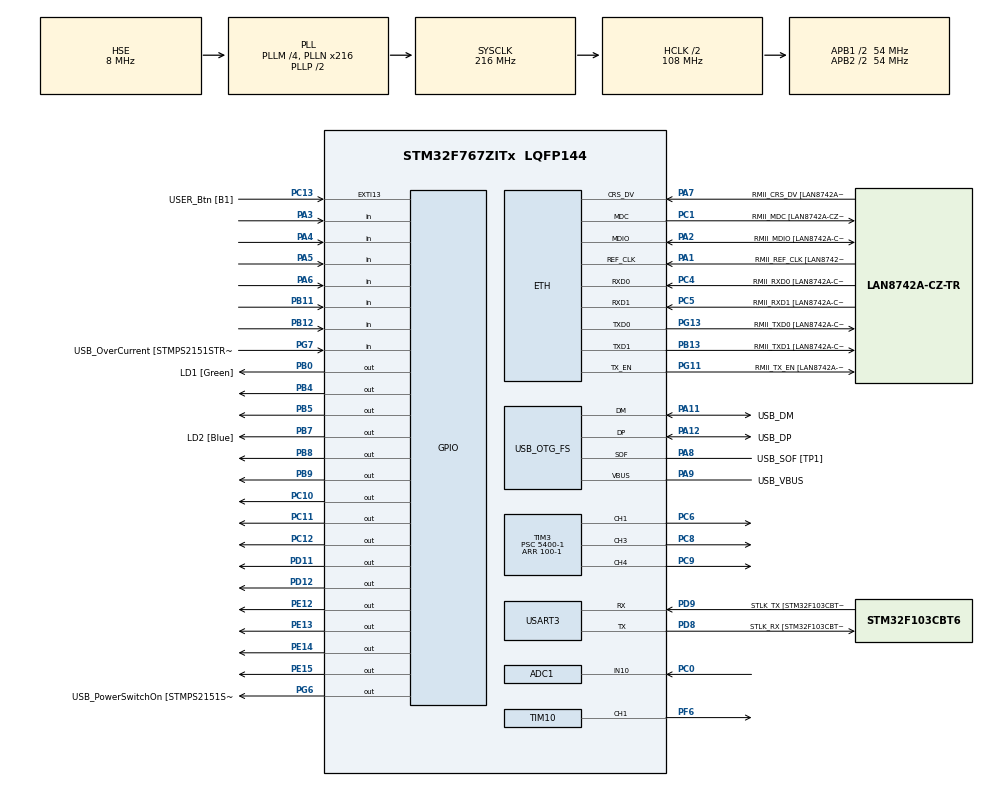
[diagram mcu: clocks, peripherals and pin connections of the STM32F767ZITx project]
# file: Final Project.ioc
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ADC1.Channel-5\#ChannelRegularConversion=ADC_CHANNEL_10
ADC1.NbrOfConversionFlag=1
ADC1.Rank-5\#ChannelRegularConversion=1
ADC1.SamplingTime-5\#ChannelRegularConversion=ADC_SAMPLETIME_3CYCLES
ADC1.master=1
ETH.MediaInterface=HAL_ETH_RMII_MODE
ETH.PHY_Name=LAN8742A_PHY_ADDRESS
ETH.PHY_Value=0
ETH.PhyAddress=0
Mcu.Family=STM32F7
Mcu.Name=STM32F767ZITx
Mcu.Package=LQFP144
NVIC.PriorityGroup=NVIC_PRIORITYGROUP_4
PA1.GPIO_Label=RMII_REF_CLK [LAN8742A-CZ-TR_REFCLK0]
PA1.Mode=RMII
PA1.Signal=ETH_REF_CLK
PA10.GPIO_Label=USB_ID
PA10.Signal=USB_OTG_FS_ID
PA11.GPIO_Label=USB_DM
PA11.Mode=Device_Only
PA11.Signal=USB_OTG_FS_DM
PA12.GPIO_Label=USB_DP
PA12.Mode=Device_Only
PA12.Signal=USB_OTG_FS_DP
PA13.GPIO_Label=TMS
PA13.Mode=Serial_Wire
PA13.Signal=SYS_JTMS-SWDIO
PA14.GPIO_Label=TCK
PA14.Mode=Serial_Wire
PA14.Signal=SYS_JTCK-SWCLK
PA2.GPIO_Label=RMII_MDIO [LAN8742A-CZ-TR_MDIO]
PA2.Mode=RMII
PA2.Signal=ETH_MDIO
PA3.Signal=GPIO_Input
PA4.Signal=GPIO_Input
PA5.Signal=GPIO_Input
PA6.Signal=GPIO_Input
PA7.GPIO_Label=RMII_CRS_DV [LAN8742A-CZ-TR_CRS_DV]
PA7.Mode=RMII
PA7.Signal=ETH_CRS_DV
PA8.GPIO_Label=USB_SOF [TP1]
PA8.Mode=Activate_SOF_FS
PA8.Signal=USB_OTG_FS_SOF
PA9.GPIO_Label=USB_VBUS
PA9.Mode=Activate_VBUS
PA9.Signal=USB_OTG_FS_VBUS
PB0.GPIO_Label=LD1 [Green]
PB0.Signal=GPIO_Output
PB11.Signal=GPIO_Input
PB12.Signal=GPIO_Input
PB13.GPIO_Label=RMII_TXD1 [LAN8742A-CZ-TR_TXD1]
PB13.Mode=RMII
PB13.Signal=ETH_TXD1
PB3.GPIO_Label=SWO
PB3.Signal=SYS_JTDO-SWO
PB4.Signal=GPIO_Output
PB5.Signal=GPIO_Output
PB7.GPIO_Label=LD2 [Blue]
PB7.Signal=GPIO_Output
PB8.Signal=GPIO_Output
PB9.Signal=GPIO_Output
PC0.Signal=ADCx_IN10
PC1.GPIO_Label=RMII_MDC [LAN8742A-CZ-TR_MDC]
PC1.Mode=RMII
PC1.Signal=ETH_MDC
PC10.Signal=GPIO_Output
PC11.Signal=GPIO_Output
PC12.Signal=GPIO_Output
PC13.GPIO_Label=USER_Btn [B1]
PC13.Signal=GPXTI13
PC14/OSC32_IN.Mode=LSE-External-Oscillator
PC14/OSC32_IN.Signal=RCC_OSC32_IN
PC15/OSC32_OUT.Mode=LSE-External-Oscillator
PC15/OSC32_OUT.Signal=RCC_OSC32_OUT
PC4.GPIO_Label=RMII_RXD0 [LAN8742A-CZ-TR_RXD0]
PC4.Mode=RMII
PC4.Signal=ETH_RXD0
PC5.GPIO_Label=RMII_RXD1 [LAN8742A-CZ-TR_RXD1]
PC5.Mode=RMII
PC5.Signal=ETH_RXD1
PC6.Signal=S_TIM3_CH1
PC8.Signal=S_TIM3_CH3
PC9.Signal=S_TIM3_CH4
PD11.Signal=GPIO_Output
PD12.Signal=GPIO_Output
PD8.GPIO_Label=STLK_RX [STM32F103CBT6_PA3]
PD8.Mode=Asynchronous
PD8.Signal=USART3_TX
PD9.GPIO_Label=STLK_TX [STM32F103CBT6_PA2]
PD9.Mode=Asynchronous
PD9.Signal=USART3_RX
PE12.Signal=GPIO_Output
PE13.Signal=GPIO_Output
PE14.Signal=GPIO_Output
PE15.Signal=GPIO_Output
PF6.Signal=S_TIM10_CH1
PG11.GPIO_Label=RMII_TX_EN [LAN8742A-CZ-TR_TXEN]
PG11.Mode=RMII
PG11.Signal=ETH_TX_EN
PG13.GPIO_Label=RMII_TXD0 [LAN8742A-CZ-TR_TXD0]
PG13.Mode=RMII
PG13.Signal=ETH_TXD0
PG6.GPIO_Label=USB_PowerSwitchOn [STMPS2151STR_EN]
PG6.Signal=GPIO_Output
PG7.GPIO_Label=USB_OverCurrent [STMPS2151STR_FAULT]
PG7.Signal=GPIO_Input
PH0/OSC_IN.GPIO_Label=MCO [STM32F103CBT6_PA8]
PH0/OSC_IN.Mode=HSE-External-Clock-Source
PH0/OSC_IN.Signal=RCC_OSC_IN
PH1/OSC_OUT.Mode=HSE-External-Clock-Source
PH1/OSC_OUT.Signal=RCC_OSC_OUT
ProjectManager.HeapSize=0x200
ProjectManager.StackSize=0x400
ProjectManager.TargetToolchain=STM32CubeIDE
RCC.48MHZClocksFreq_Value=24000000
RCC.AHBCLKDivider=RCC_SYSCLK_DIV2
RCC.AHBFreq_Value=108000000
RCC.APB1CLKDivider=RCC_HCLK_DIV2
RCC.APB1Freq_Value=54000000
RCC.APB1TimFreq_Value=108000000
RCC.APB2CLKDivider=RCC_HCLK_DIV2
RCC.APB2Freq_Value=54000000
RCC.APB2TimFreq_Value=108000000
RCC.CortexFreq_Value=108000000
RCC.HCLKFreq_Value=108000000
RCC.HSE_VALUE=8000000
RCC.HSI_VALUE=16000000
RCC.PLLM=4
RCC.PLLMUL=RCC_PLL_MUL9
RCC.PLLN=216
RCC.PLLQ=9
RCC.PRESCALERUSB=RCC_USBCLKSOURCE_PLL_DIV1_5
RCC.SYSCLKFreq_VALUE=216000000
RCC.SYSCLKSource=RCC_SYSCLKSOURCE_PLLCLK
RCC.SYSCLKSourceVirtual=RCC_SYSCLKSOURCE_PLLCLK
RCC.USBFreq_Value=48000000
RCC.VCOOutputFreq_Value=432000000
SH.ADCx_IN10.0=ADC1_IN10,IN10
SH.S_TIM10_CH1.0=TIM10_CH1,PWM Generation1 CH1
SH.S_TIM3_CH1.0=TIM3_CH1,PWM Generation1 CH1
SH.S_TIM3_CH3.0=TIM3_CH3,PWM Generation3 CH3
SH.S_TIM3_CH4.0=TIM3_CH4,PWM Generation4 CH4
TIM10.Channel=TIM_CHANNEL_1
TIM10.Period=1000-1
TIM10.Prescaler=0
TIM10.Pulse=500-1
TIM3.Channel-PWM\ Generation1\ CH1=TIM_CHANNEL_1
TIM3.Channel-PWM\ Generation3\ CH3=TIM_CHANNEL_3
TIM3.Channel-PWM\ Generation4\ CH4=TIM_CHANNEL_4
TIM3.Period=100-1
TIM3.Prescaler=5400-1
USART3.VirtualMode-Asynchronous=VM_ASYNC
USB_OTG_FS.VirtualMode=Device_Only
VP_TIM10_VS_ClockSourceINT.Mode=Enable_Timer
VP_TIM3_VS_ClockSourceINT.Mode=Internal
board=NUCLEO-F767ZI

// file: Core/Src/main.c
/* USER CODE BEGIN Header */
/**
  ******************************************************************************
  * @file           : main.c
  * @brief          : Main program body
  ******************************************************************************
  * @attention
  *
  * Copyright (c) 2024 STMicroelectronics.
  * All rights reserved.
  *
  * This software is licensed under terms that can be found in the LICENSE file
  * in the root directory of this software component.
  * If no LICENSE file comes with this software, it is provided AS-IS.
  *
  ******************************************************************************
  */
/* USER CODE END Header */
#include "main.h"
#include "string.h"

/* USER CODE BEGIN PD */
#define motorAlarmPin GPIO_PIN_3 //A
#define motorStopTouchPin GPIO_PIN_5 //A
#define ledPin GPIO_PIN_4 //B
#define motorPinCCW GPIO_PIN_12 //B
#define motorPinCW GPIO_PIN_11 //B
#define motorStopPin GPIO_PIN_10 //C
#define motorOutPin GPIO_PIN_11 //C

uint8_t line;
uint8_t cycleDelay = 2;
uint32_t adcValue = 1;
uint32_t channels[] = {TIM_CHANNEL_1, TIM_CHANNEL_3, TIM_CHANNEL_4};

const uint16_t LCD_PINS[4] = { GPIO_PIN_12, GPIO_PIN_13, GPIO_PIN_14, GPIO_PIN_15};

#define LCD_PORT GPIOE

const uint8_t HEX_TO_CHAR[16] = {
	0b0000,  //0
	0b0001,  //1
	0b0010,  //2
	0b0011,  //3
	0b0100,  //4
	0b0101,  //5
	0b0110,  //6
	0b0111,  //7
	0b1000,  //8
	0b1001,  //9
	0b1010,  //A
	0b1011,  //B
	0b1100,  //C
	0b1101,  //D
	0b1110,  //E
	0b1111   //F

};

const uint8_t START_SEQ[9] = {
	0b0010,
	0b0010,
	0b1100,
	0b0000,
	0b0001,
	0b0000,
	0b0010,
	0b0000,
	0b1100
	//0b1100,
	//0b0000
};

const uint8_t BOTTOM_ROW[4] = {
	0b0000,
	0b0000,
	0b1100,
	0b0000
};

/* USER CODE END PD */

#if defined ( __ICCARM__ ) /*!< IAR Compiler */
#pragma location=0x2007c000
ETH_DMADescTypeDef  DMARxDscrTab[ETH_RX_DESC_CNT]; /* Ethernet Rx DMA Descriptors */
#pragma location=0x2007c0a0
ETH_DMADescTypeDef  DMATxDscrTab[ETH_TX_DESC_CNT]; /* Ethernet Tx DMA Descriptors */

#elif defined ( __CC_ARM )  /* MDK ARM Compiler */

__attribute__((at(0x2007c000))) ETH_DMADescTypeDef  DMARxDscrTab[ETH_RX_DESC_CNT]; /* Ethernet Rx DMA Descriptors */
__attribute__((at(0x2007c0a0))) ETH_DMADescTypeDef  DMATxDscrTab[ETH_TX_DESC_CNT]; /* Ethernet Tx DMA Descriptors */

#elif defined ( __GNUC__ ) /* GNU Compiler */

ETH_DMADescTypeDef DMARxDscrTab[ETH_RX_DESC_CNT] __attribute__((section(".RxDecripSection"))); /* Ethernet Rx DMA Descriptors */
ETH_DMADescTypeDef DMATxDscrTab[ETH_TX_DESC_CNT] __attribute__((section(".TxDecripSection")));   /* Ethernet Tx DMA Descriptors */
#endif

ETH_TxPacketConfig TxConfig;

ADC_HandleTypeDef hadc1;

ETH_HandleTypeDef heth;

TIM_HandleTypeDef htim3;
TIM_HandleTypeDef htim10;

UART_HandleTypeDef huart3;

PCD_HandleTypeDef hpcd_USB_OTG_FS;

void SystemClock_Config(void);
static void MX_GPIO_Init(void);
static void MX_ETH_Init(void);
static void MX_USART3_UART_Init(void);
static void MX_USB_OTG_FS_PCD_Init(void);
static void MX_ADC1_Init(void);
static void MX_TIM3_Init(void);
static void MX_TIM10_Init(void);

/* USER CODE BEGIN 0 */

void playBuzzerTone(uint16_t duration) {
	HAL_ADC_Start(&hadc1);
	if (HAL_ADC_PollForConversion(&hadc1, HAL_MAX_DELAY) == HAL_OK){
	  adcValue = HAL_ADC_GetValue(&hadc1);
	  if (adcValue == 0) adcValue = 1;
	}
	HAL_ADC_Stop(&hadc1);

	__HAL_TIM_SET_PRESCALER(&htim10, (108000000/(1000*(adcValue/20)))-1);

	HAL_TIM_PWM_Start(&htim10, TIM_CHANNEL_1);

	HAL_Delay(duration);

	HAL_TIM_PWM_Stop(&htim10, TIM_CHANNEL_1);
}

void LED_RGB_Cycle(TIM_HandleTypeDef *htim) {

	playBuzzerTone(500);

	for (int i = 0; i < 3; i++) {
	  HAL_TIM_PWM_Start(&htim3, channels[i]);
    }
	playBuzzerTone(100);

	const int RED = 0, GREEN = 1, BLUE = 2;

	// Full RGB effect
	for (int dutyCycle = 0; dutyCycle <= 100; dutyCycle++) {
		// Red to Yellow (Red + Green)
		__HAL_TIM_SET_COMPARE(htim, channels[RED], dutyCycle);
		__HAL_TIM_SET_COMPARE(htim, channels[GREEN], dutyCycle);
		__HAL_TIM_SET_COMPARE(htim, channels[BLUE], 0);
		HAL_Delay(cycleDelay);
	}
	playBuzzerTone(100);

	for (int dutyCycle = 100; dutyCycle >= 0; dutyCycle--) {
		// Yellow to Green
		__HAL_TIM_SET_COMPARE(htim, channels[RED], dutyCycle);
		__HAL_TIM_SET_COMPARE(htim, channels[GREEN], 100);
		__HAL_TIM_SET_COMPARE(htim, channels[BLUE], 0);
		HAL_Delay(cycleDelay);
	}
	playBuzzerTone(100);

	for (int dutyCycle = 0; dutyCycle <= 100; dutyCycle++) {
		// Green to Cyan (Green + Blue)
		__HAL_TIM_SET_COMPARE(htim, channels[RED], 0);
		__HAL_TIM_SET_COMPARE(htim, channels[GREEN], 100);
		__HAL_TIM_SET_COMPARE(htim, channels[BLUE], dutyCycle);
		HAL_Delay(cycleDelay);
	}
	playBuzzerTone(100);

	for (int dutyCycle = 100; dutyCycle >= 0; dutyCycle--) {
		// Cyan to Blue
		__HAL_TIM_SET_COMPARE(htim, channels[RED], 0);
		__HAL_TIM_SET_COMPARE(htim, channels[GREEN], dutyCycle);
		__HAL_TIM_SET_COMPARE(htim, channels[BLUE], 100);
		HAL_Delay(cycleDelay);
	}
	playBuzzerTone(100);

	for (int dutyCycle = 0; dutyCycle <= 100; dutyCycle++) {
		// Blue to Magenta (Blue + Red)
		__HAL_TIM_SET_COMPARE(htim, channels[RED], dutyCycle);
		__HAL_TIM_SET_COMPARE(htim, channels[GREEN], 0);
		__HAL_TIM_SET_COMPARE(htim, channels[BLUE], 100);
		HAL_Delay(cycleDelay);
	}
	playBuzzerTone(100);

	for (int dutyCycle = 100; dutyCycle >= 0; dutyCycle--) {
		// Magenta to Red
		__HAL_TIM_SET_COMPARE(htim, channels[RED], 100);
		__HAL_TIM_SET_COMPARE(htim, channels[GREEN], 0);
		__HAL_TIM_SET_COMPARE(htim, channels[BLUE], dutyCycle);
		HAL_Delay(cycleDelay);
	}
	playBuzzerTone(100);

	for (int i = 0; i < 3; i++) {
	  HAL_TIM_PWM_Stop(&htim3, channels[i]);
    }

	playBuzzerTone(500);
}

void start_up(){

	HAL_Delay(10);

	for(int j = 0; j < 9; j++){

		for (int i = 0; i < 4; i++) {
			HAL_GPIO_WritePin(LCD_PORT, LCD_PINS[i], (START_SEQ[j] >> i) & 0x01);
		}

		HAL_Delay(5);

		HAL_GPIO_WritePin(GPIOD, GPIO_PIN_11, GPIO_PIN_SET);

		HAL_Delay(5);

		HAL_GPIO_WritePin(GPIOD, GPIO_PIN_11, GPIO_PIN_RESET);

		HAL_Delay(5);

	}

	line = 0;
}

void text_to_disp(char* str) {
    while (*str != '\0') {

        uint8_t highNibble = (*str >> 4) & 0x0F;
        uint8_t lowNibble = *str & 0x0F;

        get_digit_and_write_to_disp(highNibble, lowNibble);

        str++;
    }
}

void bottom_row(){

	for(int j = 0; j < 2; j++){

		if (line == 0){
			for (int i = 0; i < 4; i++) {
				HAL_GPIO_WritePin(LCD_PORT, LCD_PINS[i], (BOTTOM_ROW[j] >> i) & 0x01);
			}

			line = 1;
		}

		if (line == 1){
			for (int i = 0; i < 4; i++) {
				HAL_GPIO_WritePin(LCD_PORT, LCD_PINS[i], (BOTTOM_ROW[j+2] >> i) & 0x01);
			}

			line = 0;
		}

		HAL_Delay(5);

		HAL_GPIO_WritePin(GPIOD, GPIO_PIN_11, GPIO_PIN_SET);

		HAL_Delay(5);

		HAL_GPIO_WritePin(GPIOD, GPIO_PIN_11, GPIO_PIN_RESET);

		HAL_Delay(5);
	}
}

void get_digit_and_write_to_disp(uint8_t a, uint8_t b){

	HAL_GPIO_WritePin(GPIOD, GPIO_PIN_12, GPIO_PIN_SET);

	for (int i = 0; i < 4; i++) {
		HAL_GPIO_WritePin(LCD_PORT, LCD_PINS[i], (HEX_TO_CHAR[a] >> i) & 0x01);
	}

	HAL_Delay(5);

	HAL_GPIO_WritePin(GPIOD, GPIO_PIN_11, GPIO_PIN_SET);

	HAL_Delay(5);

	HAL_GPIO_WritePin(GPIOD, GPIO_PIN_11, GPIO_PIN_RESET);

	HAL_Delay(5);

	for (int i = 0; i < 4; i++) {
		HAL_GPIO_WritePin(LCD_PORT, LCD_PINS[i], (HEX_TO_CHAR[b] >> i) & 0x01);
	}

	HAL_Delay(5);

	HAL_GPIO_WritePin(GPIOD, GPIO_PIN_11, GPIO_PIN_SET);

	HAL_Delay(5);

	HAL_GPIO_WritePin(GPIOD, GPIO_PIN_11, GPIO_PIN_RESET);

	HAL_Delay(5);

	HAL_GPIO_WritePin(GPIOD, GPIO_PIN_12, GPIO_PIN_RESET);

}

void motorStopped(){

    HAL_GPIO_WritePin(GPIOC, motorStopPin, GPIO_PIN_RESET);
    HAL_GPIO_WritePin(GPIOC, motorOutPin, GPIO_PIN_SET);
    HAL_GPIO_WritePin(GPIOB, ledPin, GPIO_PIN_SET);

    HAL_Delay(100);

    start_up();
    start_up();
    text_to_disp(" Motor Stopped! ");
    HAL_Delay(500);
}

void motorRunningCCW(){

    HAL_GPIO_WritePin(GPIOB, ledPin, GPIO_PIN_RESET);
    HAL_GPIO_WritePin(GPIOC, motorStopPin, GPIO_PIN_SET);
    HAL_GPIO_WritePin(GPIOC, motorOutPin, GPIO_PIN_RESET);

    HAL_Delay(100);

    start_up();
    start_up();
    text_to_disp("Motor is running");
    bottom_row();
    text_to_disp("CounterClockWise");
    HAL_Delay(500);
}

void motorRunningCW(){

    HAL_GPIO_WritePin(GPIOB, ledPin, GPIO_PIN_RESET);
    HAL_GPIO_WritePin(GPIOC, motorStopPin, GPIO_PIN_SET);
    HAL_GPIO_WritePin(GPIOC, motorOutPin, GPIO_PIN_SET);

    HAL_Delay(100);

    start_up();
    start_up();
    text_to_disp("Motor is running");
    bottom_row();
    text_to_disp("   Clock-Wise   ");
    HAL_Delay(500);
}

/* USER CODE END 0 */

int main(void)
{

  /* MCU Configuration--------------------------------------------------------*/

  /* Reset of all peripherals, Initializes the Flash interface and the Systick. */
  HAL_Init();

  /* USER CODE BEGIN Init */
  GPIO_InitTypeDef GPIO_InitStruct = {0};
  GPIO_InitStruct.Pin   = LCD_PINS[0] | LCD_PINS[1] | LCD_PINS[2] | LCD_PINS[3];
  GPIO_InitStruct.Mode  = GPIO_MODE_OUTPUT_PP;
  GPIO_InitStruct.Pull  = GPIO_NOPULL;
  GPIO_InitStruct.Speed = GPIO_SPEED_FREQ_LOW;
  HAL_GPIO_Init(LCD_PORT, &GPIO_InitStruct);

  /* USER CODE END Init */

  /* Configure the system clock */
  SystemClock_Config();

  /* Initialize all configured peripherals */
  MX_GPIO_Init();
  MX_ETH_Init();
  MX_USART3_UART_Init();
  MX_USB_OTG_FS_PCD_Init();
  MX_ADC1_Init();
  MX_TIM3_Init();
  MX_TIM10_Init();
  /* USER CODE BEGIN 2 */

  line = 0;

  HAL_Delay(100);
  start_up();
  text_to_disp("System Ready");
  HAL_Delay(1000);
  motorStopped();
  //write_name();
  //bottom_row();

  /* USER CODE END 2 */

  /* Infinite loop */
  /* USER CODE BEGIN WHILE */
  while (1)
  {

	  if (HAL_GPIO_ReadPin(GPIOA, motorAlarmPin) == GPIO_PIN_SET && HAL_GPIO_ReadPin(GPIOC, motorStopPin) == GPIO_PIN_SET){
		LED_RGB_Cycle(&htim3);
		HAL_Delay(500);
	  }

	  if (HAL_GPIO_ReadPin(GPIOA, motorStopTouchPin) == GPIO_PIN_SET){
		motorStopped();
		HAL_Delay(500);
	  }

	  if (HAL_GPIO_ReadPin(GPIOB, motorPinCW) == GPIO_PIN_SET){
		motorRunningCW();
		HAL_Delay(500);
	  }

	  if (HAL_GPIO_ReadPin(GPIOB, motorPinCCW) == GPIO_PIN_SET){
		motorRunningCCW();
		HAL_Delay(500);
	  }
	  /*else{
		  char message[] = "Hello, STM32!";
		  text_to_disp(message);
	  }*/

    /* USER CODE END WHILE */

  }
}

void SystemClock_Config(void)
{
  RCC_OscInitTypeDef RCC_OscInitStruct = {0};
  RCC_ClkInitTypeDef RCC_ClkInitStruct = {0};

  /** Configure LSE Drive Capability
  */
  HAL_PWR_EnableBkUpAccess();

  /** Configure the main internal regulator output voltage
  */
  __HAL_RCC_PWR_CLK_ENABLE();
  __HAL_PWR_VOLTAGESCALING_CONFIG(PWR_REGULATOR_VOLTAGE_SCALE3);

  /** Initializes the RCC Oscillators according to the specified parameters
  * in the RCC_OscInitTypeDef structure.
  */
  RCC_OscInitStruct.OscillatorType = RCC_OSCILLATORTYPE_HSE;
  RCC_OscInitStruct.HSEState = RCC_HSE_BYPASS;
  RCC_OscInitStruct.PLL.PLLState = RCC_PLL_ON;
  RCC_OscInitStruct.PLL.PLLSource = RCC_PLLSOURCE_HSE;
  RCC_OscInitStruct.PLL.PLLM = 4;
  RCC_OscInitStruct.PLL.PLLN = 216;
  RCC_OscInitStruct.PLL.PLLP = RCC_PLLP_DIV2;
  RCC_OscInitStruct.PLL.PLLQ = 9;
  RCC_OscInitStruct.PLL.PLLR = 2;
  if (HAL_RCC_OscConfig(&RCC_OscInitStruct) != HAL_OK)
  {
    Error_Handler();
  }

  /** Activate the Over-Drive mode
  */
  if (HAL_PWREx_EnableOverDrive() != HAL_OK)
  {
    Error_Handler();
  }

  /** Initializes the CPU, AHB and APB buses clocks
  */
  RCC_ClkInitStruct.ClockType = RCC_CLOCKTYPE_HCLK|RCC_CLOCKTYPE_SYSCLK
                              |RCC_CLOCKTYPE_PCLK1|RCC_CLOCKTYPE_PCLK2;
  RCC_ClkInitStruct.SYSCLKSource = RCC_SYSCLKSOURCE_PLLCLK;
  RCC_ClkInitStruct.AHBCLKDivider = RCC_SYSCLK_DIV2;
  RCC_ClkInitStruct.APB1CLKDivider = RCC_HCLK_DIV2;
  RCC_ClkInitStruct.APB2CLKDivider = RCC_HCLK_DIV2;

  if (HAL_RCC_ClockConfig(&RCC_ClkInitStruct, FLASH_LATENCY_3) != HAL_OK)
  {
    Error_Handler();
  }
}

static void MX_ADC1_Init(void)
{

  ADC_ChannelConfTypeDef sConfig = {0};

  /** Configure the global features of the ADC (Clock, Resolution, Data Alignment and number of conversion)
  */
  hadc1.Instance = ADC1;
  hadc1.Init.ClockPrescaler = ADC_CLOCK_SYNC_PCLK_DIV2;
  hadc1.Init.Resolution = ADC_RESOLUTION_12B;
  hadc1.Init.ScanConvMode = ADC_SCAN_DISABLE;
  hadc1.Init.ContinuousConvMode = DISABLE;
  hadc1.Init.DiscontinuousConvMode = DISABLE;
  hadc1.Init.ExternalTrigConvEdge = ADC_EXTERNALTRIGCONVEDGE_NONE;
  hadc1.Init.ExternalTrigConv = ADC_SOFTWARE_START;
  hadc1.Init.DataAlign = ADC_DATAALIGN_RIGHT;
  hadc1.Init.NbrOfConversion = 1;
  hadc1.Init.DMAContinuousRequests = DISABLE;
  hadc1.Init.EOCSelection = ADC_EOC_SINGLE_CONV;
  if (HAL_ADC_Init(&hadc1) != HAL_OK)
  {
    Error_Handler();
  }

  /** Configure for the selected ADC regular channel its corresponding rank in the sequencer and its sample time.
  */
  sConfig.Channel = ADC_CHANNEL_10;
  sConfig.Rank = ADC_REGULAR_RANK_1;
  sConfig.SamplingTime = ADC_SAMPLETIME_3CYCLES;
  if (HAL_ADC_ConfigChannel(&hadc1, &sConfig) != HAL_OK)
  {
    Error_Handler();
  }

}

static void MX_ETH_Init(void)
{

   static uint8_t MACAddr[6];

  heth.Instance = ETH;
  MACAddr[0] = 0x00;
  MACAddr[1] = 0x80;
  MACAddr[2] = 0xE1;
  MACAddr[3] = 0x00;
  MACAddr[4] = 0x00;
  MACAddr[5] = 0x00;
  heth.Init.MACAddr = &MACAddr[0];
  heth.Init.MediaInterface = HAL_ETH_RMII_MODE;
  heth.Init.TxDesc = DMATxDscrTab;
  heth.Init.RxDesc = DMARxDscrTab;
  heth.Init.RxBuffLen = 1524;

  if (HAL_ETH_Init(&heth) != HAL_OK)
  {
    Error_Handler();
  }

  memset(&TxConfig, 0 , sizeof(ETH_TxPacketConfig));
  TxConfig.Attributes = ETH_TX_PACKETS_FEATURES_CSUM | ETH_TX_PACKETS_FEATURES_CRCPAD;
  TxConfig.ChecksumCtrl = ETH_CHECKSUM_IPHDR_PAYLOAD_INSERT_PHDR_CALC;
  TxConfig.CRCPadCtrl = ETH_CRC_PAD_INSERT;

}

static void MX_TIM3_Init(void)
{

  TIM_ClockConfigTypeDef sClockSourceConfig = {0};
  TIM_MasterConfigTypeDef sMasterConfig = {0};
  TIM_OC_InitTypeDef sConfigOC = {0};

  htim3.Instance = TIM3;
  htim3.Init.Prescaler = 5400-1;
  htim3.Init.CounterMode = TIM_COUNTERMODE_UP;
  htim3.Init.Period = 100-1;
  htim3.Init.ClockDivision = TIM_CLOCKDIVISION_DIV1;
  htim3.Init.AutoReloadPreload = TIM_AUTORELOAD_PRELOAD_DISABLE;
  if (HAL_TIM_Base_Init(&htim3) != HAL_OK)
  {
    Error_Handler();
  }
  sClockSourceConfig.ClockSource = TIM_CLOCKSOURCE_INTERNAL;
  if (HAL_TIM_ConfigClockSource(&htim3, &sClockSourceConfig) != HAL_OK)
  {
    Error_Handler();
  }
  if (HAL_TIM_PWM_Init(&htim3) != HAL_OK)
  {
    Error_Handler();
  }
  sMasterConfig.MasterOutputTrigger = TIM_TRGO_RESET;
  sMasterConfig.MasterSlaveMode = TIM_MASTERSLAVEMODE_DISABLE;
  if (HAL_TIMEx_MasterConfigSynchronization(&htim3, &sMasterConfig) != HAL_OK)
  {
    Error_Handler();
  }
  sConfigOC.OCMode = TIM_OCMODE_PWM1;
  sConfigOC.Pulse = 0;
  sConfigOC.OCPolarity = TIM_OCPOLARITY_HIGH;
  sConfigOC.OCFastMode = TIM_OCFAST_DISABLE;
  if (HAL_TIM_PWM_ConfigChannel(&htim3, &sConfigOC, TIM_CHANNEL_1) != HAL_OK)
  {
    Error_Handler();
  }
  if (HAL_TIM_PWM_ConfigChannel(&htim3, &sConfigOC, TIM_CHANNEL_3) != HAL_OK)
  {
    Error_Handler();
  }
  if (HAL_TIM_PWM_ConfigChannel(&htim3, &sConfigOC, TIM_CHANNEL_4) != HAL_OK)
  {
    Error_Handler();
  }
  HAL_TIM_MspPostInit(&htim3);

}

static void MX_TIM10_Init(void)
{

  TIM_OC_InitTypeDef sConfigOC = {0};

  htim10.Instance = TIM10;
  htim10.Init.Prescaler = 0;
  htim10.Init.CounterMode = TIM_COUNTERMODE_UP;
  htim10.Init.Period = 1000-1;
  htim10.Init.ClockDivision = TIM_CLOCKDIVISION_DIV1;
  htim10.Init.AutoReloadPreload = TIM_AUTORELOAD_PRELOAD_DISABLE;
  if (HAL_TIM_Base_Init(&htim10) != HAL_OK)
  {
    Error_Handler();
  }
  if (HAL_TIM_PWM_Init(&htim10) != HAL_OK)
  {
    Error_Handler();
  }
  sConfigOC.OCMode = TIM_OCMODE_PWM1;
  sConfigOC.Pulse = 500-1;
  sConfigOC.OCPolarity = TIM_OCPOLARITY_HIGH;
  sConfigOC.OCFastMode = TIM_OCFAST_DISABLE;
  if (HAL_TIM_PWM_ConfigChannel(&htim10, &sConfigOC, TIM_CHANNEL_1) != HAL_OK)
  {
    Error_Handler();
  }
  HAL_TIM_MspPostInit(&htim10);

}

static void MX_USART3_UART_Init(void)
{

  huart3.Instance = USART3;
  huart3.Init.BaudRate = 115200;
  huart3.Init.WordLength = UART_WORDLENGTH_8B;
  huart3.Init.StopBits = UART_STOPBITS_1;
  huart3.Init.Parity = UART_PARITY_NONE;
  huart3.Init.Mode = UART_MODE_TX_RX;
  huart3.Init.HwFlowCtl = UART_HWCONTROL_NONE;
  huart3.Init.OverSampling = UART_OVERSAMPLING_16;
  huart3.Init.OneBitSampling = UART_ONE_BIT_SAMPLE_DISABLE;
  huart3.AdvancedInit.AdvFeatureInit = UART_ADVFEATURE_NO_INIT;
  if (HAL_UART_Init(&huart3) != HAL_OK)
  {
    Error_Handler();
  }

}

static void MX_USB_OTG_FS_PCD_Init(void)
{

  hpcd_USB_OTG_FS.Instance = USB_OTG_FS;
  hpcd_USB_OTG_FS.Init.dev_endpoints = 6;
  hpcd_USB_OTG_FS.Init.speed = PCD_SPEED_FULL;
  hpcd_USB_OTG_FS.Init.dma_enable = DISABLE;
  hpcd_USB_OTG_FS.Init.phy_itface = PCD_PHY_EMBEDDED;
  hpcd_USB_OTG_FS.Init.Sof_enable = ENABLE;
  hpcd_USB_OTG_FS.Init.low_power_enable = DISABLE;
  hpcd_USB_OTG_FS.Init.lpm_enable = DISABLE;
  hpcd_USB_OTG_FS.Init.vbus_sensing_enable = ENABLE;
  hpcd_USB_OTG_FS.Init.use_dedicated_ep1 = DISABLE;
  if (HAL_PCD_Init(&hpcd_USB_OTG_FS) != HAL_OK)
  {
    Error_Handler();
  }

}

static void MX_GPIO_Init(void)
{
  GPIO_InitTypeDef GPIO_InitStruct = {0};

  /* GPIO Ports Clock Enable */
  __HAL_RCC_GPIOC_CLK_ENABLE();
  __HAL_RCC_GPIOF_CLK_ENABLE();
  __HAL_RCC_GPIOH_CLK_ENABLE();
  __HAL_RCC_GPIOA_CLK_ENABLE();
  __HAL_RCC_GPIOB_CLK_ENABLE();
  __HAL_RCC_GPIOE_CLK_ENABLE();
  __HAL_RCC_GPIOD_CLK_ENABLE();
  __HAL_RCC_GPIOG_CLK_ENABLE();

  /*Configure GPIO pin Output Level */
  HAL_GPIO_WritePin(GPIOB, LD1_Pin|GPIO_PIN_4|GPIO_PIN_5|LD2_Pin
                          |GPIO_PIN_8|GPIO_PIN_9, GPIO_PIN_RESET);

  /*Configure GPIO pin Output Level */
  HAL_GPIO_WritePin(GPIOE, GPIO_PIN_12|GPIO_PIN_13|GPIO_PIN_14|GPIO_PIN_15, GPIO_PIN_RESET);

  /*Configure GPIO pin Output Level */
  HAL_GPIO_WritePin(GPIOD, GPIO_PIN_11|GPIO_PIN_12, GPIO_PIN_RESET);

  /*Configure GPIO pin Output Level */
  HAL_GPIO_WritePin(USB_PowerSwitchOn_GPIO_Port, USB_PowerSwitchOn_Pin, GPIO_PIN_RESET);

  /*Configure GPIO pin Output Level */
  HAL_GPIO_WritePin(GPIOC, GPIO_PIN_10|GPIO_PIN_11|GPIO_PIN_12, GPIO_PIN_RESET);

  /*Configure GPIO pin : USER_Btn_Pin */
  GPIO_InitStruct.Pin = USER_Btn_Pin;
  GPIO_InitStruct.Mode = GPIO_MODE_IT_RISING;
  GPIO_InitStruct.Pull = GPIO_NOPULL;
  HAL_GPIO_Init(USER_Btn_GPIO_Port, &GPIO_InitStruct);

  /*Configure GPIO pins : PA3 PA4 PA5 PA6 */
  GPIO_InitStruct.Pin = GPIO_PIN_3|GPIO_PIN_4|GPIO_PIN_5|GPIO_PIN_6;
  GPIO_InitStruct.Mode = GPIO_MODE_INPUT;
  GPIO_InitStruct.Pull = GPIO_NOPULL;
  HAL_GPIO_Init(GPIOA, &GPIO_InitStruct);

  /*Configure GPIO pins : LD1_Pin PB4 PB5 LD2_Pin
                           PB8 PB9 */
  GPIO_InitStruct.Pin = LD1_Pin|GPIO_PIN_4|GPIO_PIN_5|LD2_Pin
                          |GPIO_PIN_8|GPIO_PIN_9;
  GPIO_InitStruct.Mode = GPIO_MODE_OUTPUT_PP;
  GPIO_InitStruct.Pull = GPIO_NOPULL;
  GPIO_InitStruct.Speed = GPIO_SPEED_FREQ_LOW;
  HAL_GPIO_Init(GPIOB, &GPIO_InitStruct);

  /*Configure GPIO pins : PE12 PE13 PE14 PE15 */
  GPIO_InitStruct.Pin = GPIO_PIN_12|GPIO_PIN_13|GPIO_PIN_14|GPIO_PIN_15;
  GPIO_InitStruct.Mode = GPIO_MODE_OUTPUT_PP;
  GPIO_InitStruct.Pull = GPIO_NOPULL;
  GPIO_InitStruct.Speed = GPIO_SPEED_FREQ_LOW;
  HAL_GPIO_Init(GPIOE, &GPIO_InitStruct);

  /*Configure GPIO pins : PB11 PB12 */
  GPIO_InitStruct.Pin = GPIO_PIN_11|GPIO_PIN_12;
  GPIO_InitStruct.Mode = GPIO_MODE_INPUT;
  GPIO_InitStruct.Pull = GPIO_NOPULL;
  HAL_GPIO_Init(GPIOB, &GPIO_InitStruct);

  /*Configure GPIO pins : PD11 PD12 */
  GPIO_InitStruct.Pin = GPIO_PIN_11|GPIO_PIN_12;
  GPIO_InitStruct.Mode = GPIO_MODE_OUTPUT_PP;
  GPIO_InitStruct.Pull = GPIO_NOPULL;
  GPIO_InitStruct.Speed = GPIO_SPEED_FREQ_LOW;
  HAL_GPIO_Init(GPIOD, &GPIO_InitStruct);

  /*Configure GPIO pin : USB_PowerSwitchOn_Pin */
  GPIO_InitStruct.Pin = USB_PowerSwitchOn_Pin;
  GPIO_InitStruct.Mode = GPIO_MODE_OUTPUT_PP;
  GPIO_InitStruct.Pull = GPIO_NOPULL;
  GPIO_InitStruct.Speed = GPIO_SPEED_FREQ_LOW;
  HAL_GPIO_Init(USB_PowerSwitchOn_GPIO_Port, &GPIO_InitStruct);

  /*Configure GPIO pin : USB_OverCurrent_Pin */
  GPIO_InitStruct.Pin = USB_OverCurrent_Pin;
  GPIO_InitStruct.Mode = GPIO_MODE_INPUT;
  GPIO_InitStruct.Pull = GPIO_NOPULL;
  HAL_GPIO_Init(USB_OverCurrent_GPIO_Port, &GPIO_InitStruct);

  /*Configure GPIO pins : PC10 PC11 PC12 */
  GPIO_InitStruct.Pin = GPIO_PIN_10|GPIO_PIN_11|GPIO_PIN_12;
  GPIO_InitStruct.Mode = GPIO_MODE_OUTPUT_PP;
  GPIO_InitStruct.Pull = GPIO_NOPULL;
  GPIO_InitStruct.Speed = GPIO_SPEED_FREQ_LOW;
  HAL_GPIO_Init(GPIOC, &GPIO_InitStruct);

}

void Error_Handler(void)
{
  __disable_irq();
  while (1)
  {
  }
}
